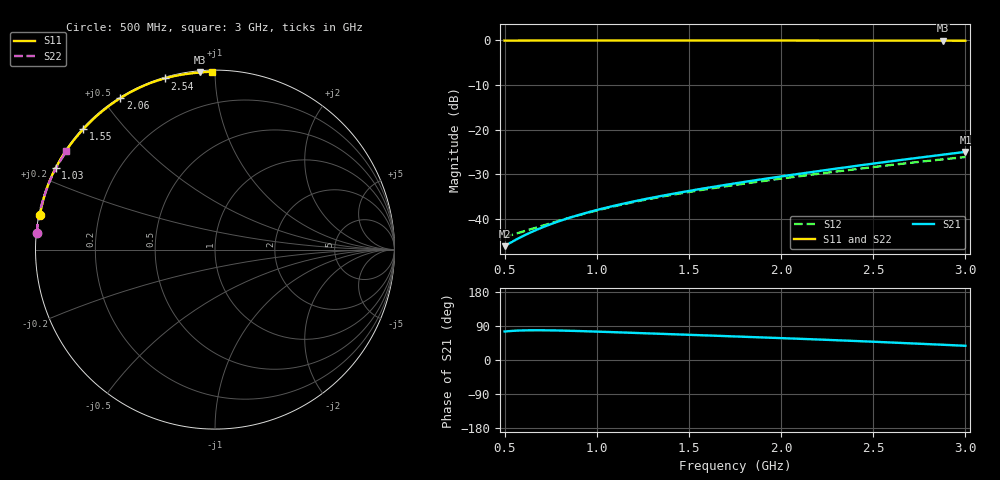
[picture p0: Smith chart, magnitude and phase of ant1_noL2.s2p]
! Created with skrf 2.1.0 (http://scikit-rf.org).
# Hz S RI R 50.0
!freq ReS11 ImS11 ReS21 ImS21 ReS12 ImS12 ReS22 ImS22
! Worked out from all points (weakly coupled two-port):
!   251 points, 500 MHz to 3 GHz, reference 50 ohm
!   highest |S21| = -24.97 dB at 3 GHz (marker M1); lowest = -46.1 dB at 500 MHz (marker M2)
!   lowest |S11| = -0.1 dB at 2.88 GHz (marker M3), VSWR 208.32, Z = 0.442 + j45.9 ohm
!   |S11| at or under -10 dB: nowhere
!   |S22| runs from -0.1 to 0.0 dB; largest |S21 - S12| = 0.012
!   S11 on the Smith chart (normalised r, x): 500 MHz: 0.00, +0.10; 1.03 GHz: 0.00, +0.24; 1.55 GHz: 0.00, +0.39; 2.06 GHz: 0.00, +0.55; 2.54 GHz: 0.00, +0.75; 3 GHz: 0.01, +0.99
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5e8  -0.975 0.1937  0.00126 0.00479  0.00138 0.00615  -0.9916 0.0935
5.4e8  -0.9713 0.2134  0.00126 0.0054  0.00155 0.00646  -0.9912 0.1005
5.9e8  -0.9661 0.2383  0.00131 0.00615  0.00175 0.00691  -0.9907 0.1094
6.4e8  -0.9603 0.2632  0.00141 0.00691  0.00193 0.00741  -0.9901 0.1184
6.9e8  -0.9537 0.2882  0.00156 0.00766  0.00213 0.00795  -0.9893 0.1277
7.4e8  -0.9463 0.3132  0.00174 0.00841  0.00235 0.00852  -0.9884 0.137
8e8  -0.9364 0.3428  0.00202 0.00929  0.00265 0.00925  -0.9872 0.1484
9.2e8  -0.9133 0.401  0.00272 0.011  0.0034 0.0108  -0.9838 0.1713
1.03e9  -0.8886 0.4527  0.0035 0.0126  0.00427 0.0122  -0.98 0.1922
1.18e9  -0.8499 0.5201  0.00477 0.0146  0.00574 0.014  -0.9736 0.2205
1.34e9  -0.8031 0.588  0.00637 0.0168  0.00761 0.0159  -0.9658 0.2502
1.55e9  -0.7338 0.6711  0.00885 0.0196  0.0105 0.018  -0.9543 0.2888
1.75e9  -0.6594 0.7443  0.0117 0.0221  0.0135 0.0199  -0.9421 0.3252
1.91e9  -0.5936 0.7981  0.0143 0.0242  0.0163 0.0212  -0.9314 0.3544
2.06e9  -0.5266 0.8443  0.0171 0.0261  0.0192 0.0222  -0.9204 0.3818
2.17e9  -0.4742 0.8751  0.0194 0.0274  0.0215 0.0229  -0.9117 0.4019
2.36e9  -0.3771 0.9209  0.024 0.0296  0.0258 0.0239  -0.8951 0.4365
2.54e9  -0.2788 0.9539  0.0289 0.0315  0.0305 0.0243  -0.8776 0.4688
2.59e9  -0.2507 0.961  0.0304 0.0319  0.0318 0.0243  -0.8724 0.4776
2.73e9  -0.1711 0.9766  0.0349 0.033  0.0358 0.0241  -0.8575 0.5018
2.88e9  -0.0848 0.9868  0.0402 0.0339  0.0402 0.0235  -0.8412 0.5269
3e9  -0.0148 0.9914  0.0447 0.0344  0.0438 0.0227  -0.8285 0.5469
